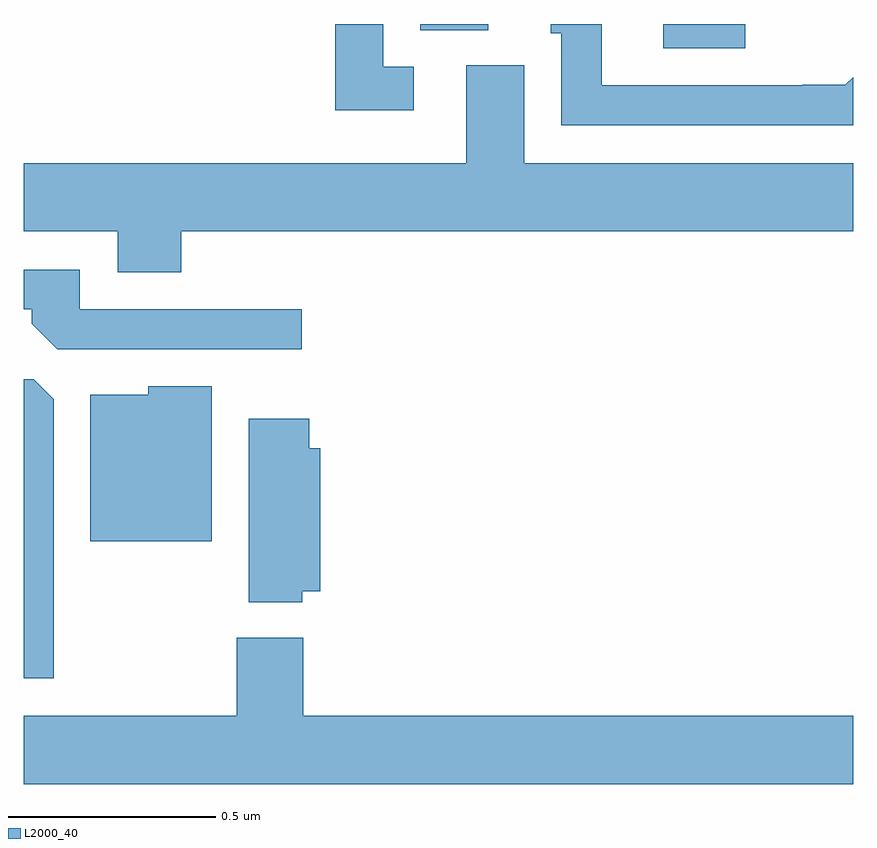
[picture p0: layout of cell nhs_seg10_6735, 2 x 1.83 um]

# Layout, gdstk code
import gdstk
lib = gdstk.Library(unit=1e-6, precision=1e-09)
def R(c, l, rs):  # rectangles x0, y0, x1, y1
    for r in rs: c.add(gdstk.rectangle(r[:2], r[2:], *l))
def P(c, l, *ps):  # polygons
    for p in ps: c.add(gdstk.Polygon(p, *l))
L2000_40 = (2000, 40)

nhs_seg10_6735 = lib.new_cell('nhs_seg10_6735')
R(nhs_seg10_6735, L2000_40, [(196.542,1283.442,196.74,1283.5), (195.956,1283.485,196.12,1283.5)])
P(nhs_seg10_6735, L2000_40, [(197,1283.372),(196.981,1283.353),(196.877,1283.353),(196.877,1283.352),(196.393,1283.352),(196.393,1283.5),(196.271,1283.5),(196.271,1283.478),(196.296,1283.478),(196.296,1283.256),(197,1283.256)],
  [(195.94,1283.397),(195.867,1283.397),(195.867,1283.5),(195.751,1283.5),(195.751,1283.292),(195.94,1283.292)],
  [(195.38,1283),(197,1283),(197,1283.164),(196.207,1283.164),(196.207,1283.4),(196.067,1283.4),(196.067,1283.164),(195,1283.164),(195,1283),(195.227,1283),(195.227,1282.901),(195.38,1282.901)],
  [(195.67,1282.812),(195.135,1282.812),(195.135,1282.908),(195,1282.908),(195,1282.812),(195.02,1282.812),(195.02,1282.778),(195.081,1282.716),(195.67,1282.716)],
  [(195.073,1282.595),(195.024,1282.644),(195,1282.644),(195,1281.923),(195.073,1281.923)],
  [(195.454,1282.627),(195.3,1282.627),(195.3,1282.606),(195.161,1282.606),(195.161,1282.253),(195.454,1282.253)],
  [(195.672,1282.133),(195.715,1282.133),(195.715,1282.477),(195.689,1282.477),(195.689,1282.549),(195.542,1282.549),(195.542,1282.106),(195.672,1282.106)],
  [(197,1281.832),(195.674,1281.832),(195.674,1282.021),(195.514,1282.021),(195.514,1281.832),(195,1281.832),(195,1281.668),(197,1281.668)])

lib.write_gds('nhs_seg10_6735.gds')
